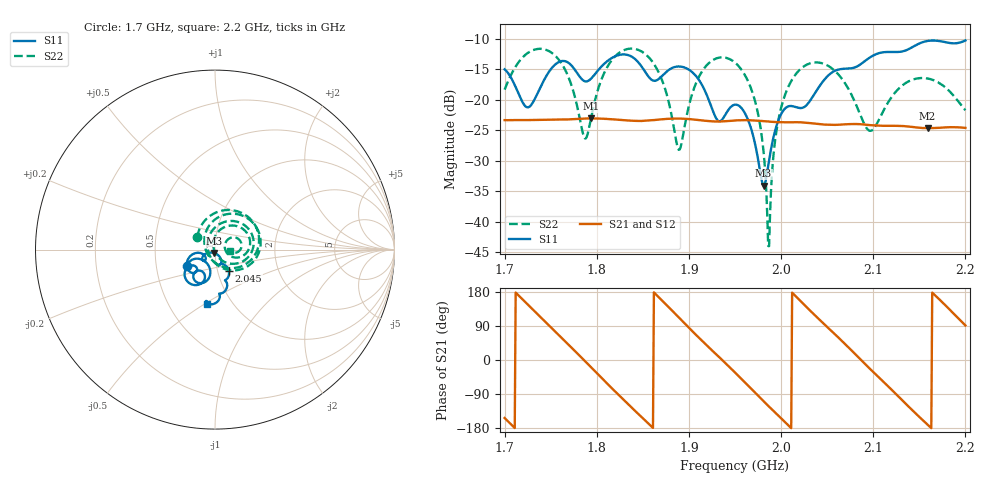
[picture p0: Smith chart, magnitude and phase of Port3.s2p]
# Hz S RI R 50
! CMT, CMT808U, 21440046, 21.4.3/4
! Date: 12/11/2025 6:23:13 PM
! Data: Format (Calibration Info)
! Freq	S11:Re/Im(F2)	S41:Re/Im(F2)	S14:Re/Im(F2)	S44:Re/Im(F2)
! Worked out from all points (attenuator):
!   501 points, 1.7 GHz to 2.2 GHz, reference 50 ohm
!   highest |S21| = -23.05 dB at 1.794 GHz (marker M1); lowest = -24.7 dB at 2.159 GHz (marker M2)
!   lowest |S11| = -34.1 dB at 1.981 GHz (marker M3), VSWR 1.04, Z = 49.3 - j1.85 ohm
!   |S11| at or under -10 dB: start of sweep to end of sweep
!   |S22| runs from -44.0 to -11.6 dB; largest |S21 - S12| = 0.00069
!   S11 on the Smith chart (normalised r, x): 1.7 GHz: 0.72, -0.13; 2.045 GHz: 1.13, -0.27; 2.2 GHz: 0.77, -0.51
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1.7e9  -0.1532 -0.0899  -0.0607 -0.031  -0.0603 -0.0313  -0.0984 0.0706
1.725e9  -0.0548 -0.0672  -0.057 0.0374  -0.0572 0.0369  0.1024 0.2187
1.748e9  -0.0378 -0.1646  -0.00192 0.0686  -0.00234 0.0685  0.2456 0.0503
1.784e9  -0.0892 -0.1167  0.0698 0.0061  0.0696 0.00657  -0.0216 -0.0528
1.794e9  -0.0586 -0.1374  0.0663 -0.0237  0.0663 -0.0232  -0.0595 0.0403
1.825e9  -0.1315 -0.1932  -0.00635 -0.0681  -0.00581 -0.0681  0.1564 0.1879
1.867e9  -0.0997 -0.1087  -0.0668 0.016  -0.0669 0.0154  0.1238 -0.1145
1.889e9  -0.1466 -0.1168  -0.0266 0.0648  -0.0271 0.0645  -0.0367 -0.0127
1.915e9  -0.126 -0.0269  0.0445 0.0509  0.0441 0.0512  0.0725 0.1586
1.932e9  -0.0585 -0.0326  0.0655 0.0109  0.0653 0.0114  0.1922 0.1085
1.95e9  -0.0676 -0.0611  0.0569 -0.0368  0.057 -0.0362  0.2008 -0.0199
1.97e9  -0.0453 -0.0201  0.00931 -0.067  0.00989 -0.067  0.0765 -0.0767
1.981e9  -0.0062 -0.0188  -0.0215 -0.0632  -0.021 -0.0633  0.012 -0.0354
1.987e9  0.0143 -0.0287  -0.0362 -0.0554  -0.0357 -0.0557  -0.00602 0.00187
1.993e9  0.0294 -0.0453  -0.0484 -0.0445  -0.0479 -0.0449  -0.00866 0.0422
2.001e9  0.0351 -0.0705  -0.0599 -0.0265  -0.0596 -0.0269  0.0104 0.0909
2.034e9  0.0575 -0.0879  -0.0362 0.0528  -0.0366 0.0525  0.1803 0.0889
2.045e9  0.0765 -0.1173  -0.00948 0.0621  -0.01 0.0619  0.1958 0.0342
2.095e9  0.067 -0.2081  0.0584 -0.0211  0.0585 -0.0207  0.0562 0.00225
2.117e9  0.0302 -0.2446  0.0194 -0.058  0.0199 -0.0578  0.0766 0.0603
2.159e9  -0.00967 -0.3034  -0.0578 -0.00946  -0.0577 -0.00997  0.148 0.0203
2.2e9  -0.0429 -0.3033  -0.00123 0.0588  -0.00171 0.0587  0.082 -0.00579
